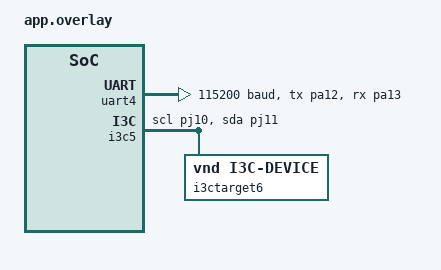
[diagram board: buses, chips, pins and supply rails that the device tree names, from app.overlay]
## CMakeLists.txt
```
# SPDX-License-Identifier: Apache-2.0

cmake_minimum_required(VERSION 3.20.0)
find_package(Zephyr REQUIRED HINTS $ENV{ZEPHYR_BASE})
project(host_i3c_master)

target_sources(app PRIVATE src/main.c)
```

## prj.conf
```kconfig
CONFIG_LOG=y
CONFIG_LOG_BUFFER_SIZE=16384
CONFIG_LOG_PROCESS_THREAD_SLEEP_MS=10
CONFIG_I3C=y
CONFIG_I2C=y
CONFIG_I3C_USE_IBI=n
CONFIG_I3C_LOG_LEVEL_DBG=y
CONFIG_MINIMAL_LIBC=y
CONFIG_NEWLIB_LIBC=n
```

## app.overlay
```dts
&chosen {
    zephyr,console = &uart4;
    zephyr,shell-uart = &uart4;
};

&uart5 {
    status = "disabled";
};

&uart4 {
    status = "okay";
    current-speed = <115200>;
    pinctrl-0 = <
        &uart4_tx_pa12
        &uart4_rx_pa13
    >;
    pinctrl-names = "default";
};

&i3c5_scl_pj10 {
    drive-strength = <1>;
    bias-pull-up2;
};

&i3c5_sda_pj11 {
    drive-strength = <1>;
    bias-pull-up2;
};

&i3c5 {
    status = "okay";
    i3c-scl-hz = <12500000>;
    interrupts = <I3C5_IRQN 6>;

    tgt-pid = <0x5 0x55>;
    dcr = <0x4>;
    bcr = <0x42>;

    pinctrl-0 = <
        &i3c5_scl_pj10
        &i3c5_sda_pj11
    >;
    pinctrl-names = "default";

    i3ctarget6: i3ctarget@46a00000000 {
        compatible = "vnd,i3c-device";
        reg = <0 0x046a 0x00000000>;
        assigned-address = <0x38>;
        status = "okay";
    };
};
```

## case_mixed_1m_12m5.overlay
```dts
#include "app.overlay"

&i3c5 {
    i3c-scl-hz = <12500000>;
    i2c-scl-hz = <1000000>;
};
```

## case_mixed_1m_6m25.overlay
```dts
#include "app.overlay"

&i3c5 {
    i3c-scl-hz = <6250000>;
    i2c-scl-hz = <1000000>;
};
```

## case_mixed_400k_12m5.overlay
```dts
#include "app.overlay"

&i3c5 {
    i3c-scl-hz = <12500000>;
    i2c-scl-hz = <400000>;
};
```

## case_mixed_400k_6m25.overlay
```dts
#include "app.overlay"

&i3c5 {
    i3c-scl-hz = <6250000>;
    i2c-scl-hz = <400000>;
};
```

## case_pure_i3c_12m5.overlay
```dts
#include "app.overlay"

&i3c5 {
    i3c-scl-hz = <12500000>;
    /* no i2c-scl-hz: pure I3C bus, open-drain ~4 MHz */
};
```

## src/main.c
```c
/*
 * Copyright (c) 2025 LinkedSemi
 *
 * SPDX-License-Identifier: Apache-2.0
 */

#include <string.h>
#include <zephyr/kernel.h>
#include <zephyr/device.h>
#include <zephyr/drivers/i3c.h>
#include <zephyr/drivers/i2c.h>
#include <zephyr/logging/log.h>

LOG_MODULE_REGISTER(host_i3c_master, LOG_LEVEL_INF);

#define TARGET_ADDR 0x38
#define INIT_LEN    9
#define READ_LEN    50

static const struct device *i3c_dev = DEVICE_DT_GET(DT_NODELABEL(i3c5));

static struct i3c_device_desc *wait_for_target(void)
{
    struct i3c_device_desc *target = NULL;
    int ret;

    for (int attempt = 0; attempt < 1; attempt++) {
        target = i3c_dev_list_i3c_addr_find(i3c_dev, TARGET_ADDR);
        if (target != NULL) {
            return target;
        }
        LOG_INF("Target 0x%02X not found, retry DAA (attempt %d)",
                TARGET_ADDR, attempt + 1);
        ret = i3c_do_daa(i3c_dev);
        if (ret != 0) {
            LOG_INF("i3c_do_daa failed: %d", ret);
        }
        k_sleep(K_MSEC(200));
    }

    return NULL;
}

static int host_send_init_cmd(struct i3c_device_desc *target)
{
    uint8_t init_buf[] = {0x02, 0x06, 0xb8, 0x01, 0x00, 0x4c, 0xa5, 0x00, 0x00,
    0x02, 0x06, 0xb8, 0x01, 0x00, 0x4c, 0xa5, 0x00, 0x00,0x02, 0x06, 0xb8, 0x01, 0x00, 0x4c, 0xa5, 0x00, 0x00
        ,0x02, 0x06, 0xb8, 0x01, 0x00, 0x4c, 0xa5, 0x00, 0x00,
    0x02, 0x06, 0xb8, 0x01, 0x00, 0x4c, 0xa5, 0x00, 0x11};
    struct i3c_msg msg = {
        .buf = init_buf,
        .len = sizeof(init_buf),
        .flags = I3C_MSG_WRITE | I3C_MSG_STOP,
        .hdr_mode = 0,
        .hdr_cmd_code = 0,
        .num_xfer = 0,
    };

    int ret = i3c_transfer(target, &msg, 1);
    if (ret != 0) {
        LOG_ERR("Init command transfer failed: %d", ret);
        return ret;
    }

    LOG_INF("Init command sent, %zu/%d bytes transferred", msg.num_xfer, sizeof(init_buf));
    return 0;
}

static int host_write_read(struct i3c_device_desc *target,
                           const uint8_t *write_buf, size_t num_write,
                           uint8_t *read_buf, size_t num_read,
                           size_t *actual)
{
    struct i3c_msg msg[2] = {
        {
            .buf = (uint8_t *)write_buf,
            .len = num_write,
            .flags = I3C_MSG_WRITE,
            .hdr_mode = 0,
            .hdr_cmd_code = 0,
            .num_xfer = 0,
        },
        {
            .buf = read_buf,
            .len = num_read,
            .flags = I3C_MSG_RESTART | I3C_MSG_READ | I3C_MSG_STOP,
            .hdr_mode = 0,
            .hdr_cmd_code = 0,
            .num_xfer = 0,
        },
    };
    int ret;
     ret = i3c_transfer(target, msg, 2);
    if (ret == 0) {
        *actual = msg[1].num_xfer;
    }

    // ret = i3c_transfer(target, &msg[1], 1);
    // if (ret == 0) {
    //     *actual = msg[1].num_xfer;
    // }
    return ret;
}

static int host_send_i2c_wave(const struct device *dev)
{
    uint8_t dummy = 0x5A;
    struct i2c_msg msg = {
        .buf = &dummy,
        .len = 1,
        .flags = I2C_MSG_WRITE | I2C_MSG_STOP,
    };
    int ret;

    ret = i2c_transfer(dev, &msg, 1, 0x20);
    if (ret == -ENOSYS) {
        LOG_INF("I2C clock not configured, skip I2C waveform test");
    } else if (ret != 0) {
        LOG_INF("I2C waveform sent (addr 0x20), transfer returned %d "
                "(NACK expected if no I2C slave)", ret);
    } else {
        LOG_INF("I2C waveform sent (addr 0x20), ACKed by slave");
    }

    return 0;
}

int main(void)
{
    LOG_INF("[HOST MASTER] I3C host (CPU2/I3C5) started");

    uint8_t read_buf[READ_LEN];
    uint8_t cmd = 0x55;
    struct i3c_device_desc *target = NULL;
    size_t actual;
    int ret;

    /* Wait 1 second before starting communication. */
    k_sleep(K_MSEC(1000));

    target = wait_for_target();
    if (target == NULL) {
        LOG_ERR("Failed to find I3C target at 0x%02X", TARGET_ADDR);
        return -1;
    }
    LOG_INF("Target 0x%02X found", TARGET_ADDR);

    /* Send initial 9-byte command: 02 06 08 01 00 4c a5 00 00 */
    ret = host_send_init_cmd(target);
    if (ret != 0) {
        return ret;
    }

    /* Wait 0.5 second before entering the write+read loop. */
    k_sleep(K_MSEC(500));

    // while (1) {
        memset(read_buf, 0, sizeof(read_buf));
        actual = 0;

        ret = host_write_read(target, &cmd, 1, read_buf, 100, &actual);
        if (ret != 0) {
            LOG_ERR("Write+read failed: %d", ret);
        } else {
            LOG_INF("Write+read OK: wrote 0x%02X, read %zu bytes", cmd, actual);
            LOG_HEXDUMP_INF(read_buf, actual, "Read data");
        }

        k_sleep(K_MSEC(500));
    // }

    /* Send an I2C-style waveform (no slave required). */
    host_send_i2c_wave(i3c_dev);

    return 0;
}
```
